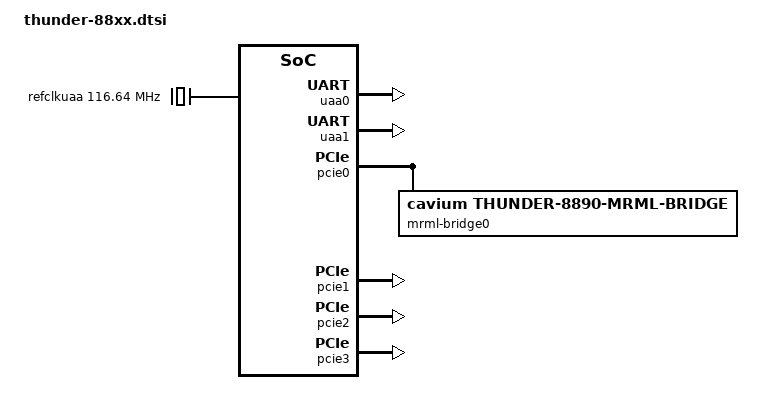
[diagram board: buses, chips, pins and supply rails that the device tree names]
/*
 * Cavium Thunder DTS file - Thunder SoC description
 *
 * Copyright (C) 2014, Cavium Inc.
 *
 * This file is dual-licensed: you can use it either under the terms
 * of the GPL or the X11 license, at your option. Note that this dual
 * licensing only applies to this file, and not this project as a
 * whole.
 *
 *  a) This library is free software; you can redistribute it and/or
 *     modify it under the terms of the GNU General Public License as
 *     published by the Free Software Foundation; either version 2 of the
 *     License, or (at your option) any later version.
 *
 *     This library is distributed in the hope that it will be useful,
 *     but WITHOUT ANY WARRANTY; without even the implied warranty of
 *     MERCHANTABILITY or FITNESS FOR A PARTICULAR PURPOSE.  See the
 *     GNU General Public License for more details.
 *
 *     You should have received a copy of the GNU General Public
 *     License along with this library; if not, write to the Free
 *     Software Foundation, Inc., 51 Franklin St, Fifth Floor, Boston,
 *     MA 02110-1301 USA
 *
 * Or, alternatively,
 *
 *  b) Permission is hereby granted, free of charge, to any person
 *     obtaining a copy of this software and associated documentation
 *     files (the "Software"), to deal in the Software without
 *     restriction, including without limitation the rights to use,
 *     copy, modify, merge, publish, distribute, sublicense, and/or
 *     sell copies of the Software, and to permit persons to whom the
 *     Software is furnished to do so, subject to the following
 *     conditions:
 *
 *     The above copyright notice and this permission notice shall be
 *     included in all copies or substantial portions of the Software.
 *
 *     THE SOFTWARE IS PROVIDED "AS IS", WITHOUT WARRANTY OF ANY KIND,
 *     EXPRESS OR IMPLIED, INCLUDING BUT NOT LIMITED TO THE WARRANTIES
 *     OF MERCHANTABILITY, FITNESS FOR A PARTICULAR PURPOSE AND
 *     NONINFRINGEMENT. IN NO EVENT SHALL THE AUTHORS OR COPYRIGHT
 *     HOLDERS BE LIABLE FOR ANY CLAIM, DAMAGES OR OTHER LIABILITY,
 *     WHETHER IN AN ACTION OF CONTRACT, TORT OR OTHERWISE, ARISING
 *     FROM, OUT OF OR IN CONNECTION WITH THE SOFTWARE OR THE USE OR
 *     OTHER DEALINGS IN THE SOFTWARE.
 */

/ {
	compatible = "cavium,thunder-88xx";
	interrupt-parent = <&gic0>;
	#address-cells = <2>;
	#size-cells = <2>;

	psci {
		compatible = "arm,psci-0.2";
		method = "smc";
	};

	cpus {
		#address-cells = <2>;
		#size-cells = <0>;

		cpu-map {
			cluster0 {
				core0 {
					cpu = <&CPU0>;
				};
				core1 {
					cpu = <&CPU1>;
				};
				core2 {
					cpu = <&CPU2>;
				};
				core3 {
					cpu = <&CPU3>;
				};
				core4 {
					cpu = <&CPU4>;
				};
				core5 {
					cpu = <&CPU5>;
				};
				core6 {
					cpu = <&CPU6>;
				};
				core7 {
					cpu = <&CPU7>;
				};
				core8 {
					cpu = <&CPU8>;
				};
				core9 {
					cpu = <&CPU9>;
				};
				core10 {
					cpu = <&CPU10>;
				};
				core11 {
					cpu = <&CPU11>;
				};
				core12 {
					cpu = <&CPU12>;
				};
				core13 {
					cpu = <&CPU13>;
				};
				core14 {
					cpu = <&CPU14>;
				};
				core15 {
					cpu = <&CPU15>;
				};
				core16 {
					cpu = <&CPU16>;
				};
				core17 {
					cpu = <&CPU17>;
				};
				core18 {
					cpu = <&CPU18>;
				};
				core19 {
					cpu = <&CPU19>;
				};
				core20 {
					cpu = <&CPU20>;
				};
				core21 {
					cpu = <&CPU21>;
				};
				core22 {
					cpu = <&CPU22>;
				};
				core23 {
					cpu = <&CPU23>;
				};
				core24 {
					cpu = <&CPU24>;
				};
				core25 {
					cpu = <&CPU25>;
				};
				core26 {
					cpu = <&CPU26>;
				};
				core27 {
					cpu = <&CPU27>;
				};
				core28 {
					cpu = <&CPU28>;
				};
				core29 {
					cpu = <&CPU29>;
				};
				core30 {
					cpu = <&CPU30>;
				};
				core31 {
					cpu = <&CPU31>;
				};
				core32 {
					cpu = <&CPU32>;
				};
				core33 {
					cpu = <&CPU33>;
				};
				core34 {
					cpu = <&CPU34>;
				};
				core35 {
					cpu = <&CPU35>;
				};
				core36 {
					cpu = <&CPU36>;
				};
				core37 {
					cpu = <&CPU37>;
				};
				core38 {
					cpu = <&CPU38>;
				};
				core39 {
					cpu = <&CPU39>;
				};
				core40 {
					cpu = <&CPU40>;
				};
				core41 {
					cpu = <&CPU41>;
				};
				core42 {
					cpu = <&CPU42>;
				};
				core43 {
					cpu = <&CPU43>;
				};
				core44 {
					cpu = <&CPU44>;
				};
				core45 {
					cpu = <&CPU45>;
				};
				core46 {
					cpu = <&CPU46>;
				};
				core47 {
					cpu = <&CPU47>;
				};
			};
		};

		CPU0: cpu@000 {
			device_type = "cpu";
			compatible = "cavium,thunder", "arm,armv8";
			reg = <0x0 0x000>;
			enable-method = "psci";
			/* socket 0, cluster 0, core 0*/
			arm,associativity = <0 0 0>;
		};
		CPU1: cpu@001 {
			device_type = "cpu";
			compatible = "cavium,thunder", "arm,armv8";
			reg = <0x0 0x001>;
			enable-method = "psci";
			arm,associativity = <0 0 1>;
		};
		CPU2: cpu@002 {
			device_type = "cpu";
			compatible = "cavium,thunder", "arm,armv8";
			reg = <0x0 0x002>;
			enable-method = "psci";
			arm,associativity = <0 0 2>;
		};
		CPU3: cpu@003 {
			device_type = "cpu";
			compatible = "cavium,thunder", "arm,armv8";
			reg = <0x0 0x003>;
			enable-method = "psci";
			arm,associativity = <0 0 3>;
		};
		CPU4: cpu@004 {
			device_type = "cpu";
			compatible = "cavium,thunder", "arm,armv8";
			reg = <0x0 0x004>;
			enable-method = "psci";
			arm,associativity = <0 0 4>;
		};
		CPU5: cpu@005 {
			device_type = "cpu";
			compatible = "cavium,thunder", "arm,armv8";
			reg = <0x0 0x005>;
			enable-method = "psci";
			arm,associativity = <0 0 5>;
		};
		CPU6: cpu@006 {
			device_type = "cpu";
			compatible = "cavium,thunder", "arm,armv8";
			reg = <0x0 0x006>;
			enable-method = "psci";
			arm,associativity = <0 0 6>;
		};
		CPU7: cpu@007 {
			device_type = "cpu";
			compatible = "cavium,thunder", "arm,armv8";
			reg = <0x0 0x007>;
			enable-method = "psci";
			arm,associativity = <0 0 7>;
		};
		CPU8: cpu@008 {
			device_type = "cpu";
			compatible = "cavium,thunder", "arm,armv8";
			reg = <0x0 0x008>;
			enable-method = "psci";
			arm,associativity = <0 0 8>;
		};
		CPU9: cpu@009 {
			device_type = "cpu";
			compatible = "cavium,thunder", "arm,armv8";
			reg = <0x0 0x009>;
			enable-method = "psci";
			arm,associativity = <0 0 9>;
		};
		CPU10: cpu@00a {
			device_type = "cpu";
			compatible = "cavium,thunder", "arm,armv8";
			reg = <0x0 0x00a>;
			enable-method = "psci";
			arm,associativity = <0 0 10>;
		};
		CPU11: cpu@00b {
			device_type = "cpu";
			compatible = "cavium,thunder", "arm,armv8";
			reg = <0x0 0x00b>;
			enable-method = "psci";
			arm,associativity = <0 0 11>;
		};
		CPU12: cpu@00c {
			device_type = "cpu";
			compatible = "cavium,thunder", "arm,armv8";
			reg = <0x0 0x00c>;
			enable-method = "psci";
			arm,associativity = <0 0 12>;
		};
		CPU13: cpu@00d {
			device_type = "cpu";
			compatible = "cavium,thunder", "arm,armv8";
			reg = <0x0 0x00d>;
			enable-method = "psci";
			arm,associativity = <0 0 13>;
		};
		CPU14: cpu@00e {
			device_type = "cpu";
			compatible = "cavium,thunder", "arm,armv8";
			reg = <0x0 0x00e>;
			enable-method = "psci";
			arm,associativity = <0 0 14>;
		};
		CPU15: cpu@00f {
			device_type = "cpu";
			compatible = "cavium,thunder", "arm,armv8";
			reg = <0x0 0x00f>;
			enable-method = "psci";
			arm,associativity = <0 0 15>;
		};
		CPU16: cpu@100 {
			device_type = "cpu";
			compatible = "cavium,thunder", "arm,armv8";
			reg = <0x0 0x100>;
			enable-method = "psci";
			arm,associativity = <0 1 0>;
		};
		CPU17: cpu@101 {
			device_type = "cpu";
			compatible = "cavium,thunder", "arm,armv8";
			reg = <0x0 0x101>;
			enable-method = "psci";
			arm,associativity = <0 1 1>;
		};
		CPU18: cpu@102 {
			device_type = "cpu";
			compatible = "cavium,thunder", "arm,armv8";
			reg = <0x0 0x102>;
			enable-method = "psci";
			arm,associativity = <0 1 2>;
		};
		CPU19: cpu@103 {
			device_type = "cpu";
			compatible = "cavium,thunder", "arm,armv8";
			reg = <0x0 0x103>;
			enable-method = "psci";
			arm,associativity = <0 1 3>;
		};
		CPU20: cpu@104 {
			device_type = "cpu";
			compatible = "cavium,thunder", "arm,armv8";
			reg = <0x0 0x104>;
			enable-method = "psci";
			arm,associativity = <0 1 4>;
		};
		CPU21: cpu@105 {
			device_type = "cpu";
			compatible = "cavium,thunder", "arm,armv8";
			reg = <0x0 0x105>;
			enable-method = "psci";
			arm,associativity = <0 1 5>;
		};
		CPU22: cpu@106 {
			device_type = "cpu";
			compatible = "cavium,thunder", "arm,armv8";
			reg = <0x0 0x106>;
			enable-method = "psci";
			arm,associativity = <0 1 6>;
		};
		CPU23: cpu@107 {
			device_type = "cpu";
			compatible = "cavium,thunder", "arm,armv8";
			reg = <0x0 0x107>;
			enable-method = "psci";
			arm,associativity = <0 1 7>;
		};
		CPU24: cpu@108 {
			device_type = "cpu";
			compatible = "cavium,thunder", "arm,armv8";
			reg = <0x0 0x108>;
			enable-method = "psci";
			arm,associativity = <0 1 8>;
		};
		CPU25: cpu@109 {
			device_type = "cpu";
			compatible = "cavium,thunder", "arm,armv8";
			reg = <0x0 0x109>;
			enable-method = "psci";
			arm,associativity = <0 1 9>;
		};
		CPU26: cpu@10a {
			device_type = "cpu";
			compatible = "cavium,thunder", "arm,armv8";
			reg = <0x0 0x10a>;
			enable-method = "psci";
			arm,associativity = <0 1 10>;
		};
		CPU27: cpu@10b {
			device_type = "cpu";
			compatible = "cavium,thunder", "arm,armv8";
			reg = <0x0 0x10b>;
			enable-method = "psci";
			arm,associativity = <0 1 11>;
		};
		CPU28: cpu@10c {
			device_type = "cpu";
			compatible = "cavium,thunder", "arm,armv8";
			reg = <0x0 0x10c>;
			enable-method = "psci";
			arm,associativity = <0 1 12>;
		};
		CPU29: cpu@10d {
			device_type = "cpu";
			compatible = "cavium,thunder", "arm,armv8";
			reg = <0x0 0x10d>;
			enable-method = "psci";
			arm,associativity = <0 1 13>;
		};
		CPU30: cpu@10e {
			device_type = "cpu";
			compatible = "cavium,thunder", "arm,armv8";
			reg = <0x0 0x10e>;
			enable-method = "psci";
			arm,associativity = <0 1 14>;
		};
		CPU31: cpu@10f {
			device_type = "cpu";
			compatible = "cavium,thunder", "arm,armv8";
			reg = <0x0 0x10f>;
			enable-method = "psci";
			arm,associativity = <0 1 15>;
		};
		CPU32: cpu@200 {
			device_type = "cpu";
			compatible = "cavium,thunder", "arm,armv8";
			reg = <0x0 0x200>;
			enable-method = "psci";
			arm,associativity = <0 2 0>;
		};
		CPU33: cpu@201 {
			device_type = "cpu";
			compatible = "cavium,thunder", "arm,armv8";
			reg = <0x0 0x201>;
			enable-method = "psci";
			arm,associativity = <0 2 1>;
		};
		CPU34: cpu@202 {
			device_type = "cpu";
			compatible = "cavium,thunder", "arm,armv8";
			reg = <0x0 0x202>;
			enable-method = "psci";
			arm,associativity = <0 2 2>;
		};
		CPU35: cpu@203 {
			device_type = "cpu";
			compatible = "cavium,thunder", "arm,armv8";
			reg = <0x0 0x203>;
			enable-method = "psci";
			arm,associativity = <0 2 3>;
		};
		CPU36: cpu@204 {
			device_type = "cpu";
			compatible = "cavium,thunder", "arm,armv8";
			reg = <0x0 0x204>;
			enable-method = "psci";
			arm,associativity = <0 2 4>;
		};
		CPU37: cpu@205 {
			device_type = "cpu";
			compatible = "cavium,thunder", "arm,armv8";
			reg = <0x0 0x205>;
			enable-method = "psci";
			arm,associativity = <0 2 5>;
		};
		CPU38: cpu@206 {
			device_type = "cpu";
			compatible = "cavium,thunder", "arm,armv8";
			reg = <0x0 0x206>;
			enable-method = "psci";
			arm,associativity = <0 2 6>;
		};
		CPU39: cpu@207 {
			device_type = "cpu";
			compatible = "cavium,thunder", "arm,armv8";
			reg = <0x0 0x207>;
			enable-method = "psci";
			arm,associativity = <0 2 7>;
		};
		CPU40: cpu@208 {
			device_type = "cpu";
			compatible = "cavium,thunder", "arm,armv8";
			reg = <0x0 0x208>;
			enable-method = "psci";
			arm,associativity = <0 2 8>;
		};
		CPU41: cpu@209 {
			device_type = "cpu";
			compatible = "cavium,thunder", "arm,armv8";
			reg = <0x0 0x209>;
			enable-method = "psci";
			arm,associativity = <0 2 9>;
		};
		CPU42: cpu@20a {
			device_type = "cpu";
			compatible = "cavium,thunder", "arm,armv8";
			reg = <0x0 0x20a>;
			enable-method = "psci";
			arm,associativity = <0 2 10>;
		};
		CPU43: cpu@20b {
			device_type = "cpu";
			compatible = "cavium,thunder", "arm,armv8";
			reg = <0x0 0x20b>;
			enable-method = "psci";
			arm,associativity = <0 2 11>;
		};
		CPU44: cpu@20c {
			device_type = "cpu";
			compatible = "cavium,thunder", "arm,armv8";
			reg = <0x0 0x20c>;
			enable-method = "psci";
			arm,associativity = <0 2 12>;
		};
		CPU45: cpu@20d {
			device_type = "cpu";
			compatible = "cavium,thunder", "arm,armv8";
			reg = <0x0 0x20d>;
			enable-method = "psci";
			arm,associativity = <0 2 13>;
		};
		CPU46: cpu@20e {
			device_type = "cpu";
			compatible = "cavium,thunder", "arm,armv8";
			reg = <0x0 0x20e>;
			enable-method = "psci";
			arm,associativity = <0 2 14>;
		};
		CPU47: cpu@20f {
			device_type = "cpu";
			compatible = "cavium,thunder", "arm,armv8";
			reg = <0x0 0x20f>;
			enable-method = "psci";
			arm,associativity = <0 2 15>;
		};
	};

	timer {
		compatible = "arm,armv8-timer";
		interrupts = <1 13 0xff01>,
			     <1 14 0xff01>,
			     <1 11 0xff01>,
			     <1 10 0xff01>;
	};

	pmu {
		compatible = "arm,armv8-pmuv3";
		interrupts = <1 7 4>;
	};

	gic0: interrupt-controller@8010,00000000 {
		compatible = "arm,gic-v3";
		#interrupt-cells = <3>;
		#address-cells = <2>;
		#size-cells = <2>;
		#redistributor-regions = <1>;
		ranges;
		interrupt-controller;
		reg = <0x8010 0x00000000 0x0 0x010000>, /* GICD */
		      <0x8010 0x80000000 0x0 0x600000>; /* GICR Node 0 */
		interrupts = <1 9 0xf04>;

		its: gic-its@8010,00020000 {
			compatible = "arm,gic-v3-its";
			reg = <0x8010 0x20000 0x0 0x200000>;
			msi-controller;
			#msi-cells = <1>;
		};
	};

	soc@0 {
		compatible = "simple-bus";
		#address-cells = <2>;
		#size-cells = <2>;
		ranges;

		refclkuaa: refclkuaa {
			compatible = "fixed-clock";
			#clock-cells = <0>;
			clock-frequency = <116640000>;
			clock-output-names = "refclkuaa";
		};

		uaa0: serial@87e0,24000000 {
			compatible = "arm,pl011", "arm,primecell";
			reg = <0x87e0 0x24000000 0x0 0x1000>;
			interrupts = <0 5 4>;
			clocks = <&refclkuaa>;
			clock-names = "apb_pclk";
			uboot,skip-init;
		};

		uaa1: serial@87e0,25000000 {
			compatible = "arm,pl011", "arm,primecell";
			reg = <0x87e0 0x25000000 0x0 0x1000>;
			interrupts = <0 6 4>;
			clocks = <&refclkuaa>;
			clock-names = "apb_pclk";
			uboot,skip-init;
		};

		smmu0@8300,00000000 {
			compatible = "arm,smmu-v2";
			reg = <0x8300 0x0 0x0 0x2000000>;
			#global-interrupts = <1>;
			interrupts = <0 68 4>, <0 69 4>, <0 69 4>, <0 69 4>, <0 69 4>, <0 69 4>,
				     <0 69 4>, <0 69 4>, <0 69 4>, <0 69 4>, <0 69 4>, <0 69 4>,
				     <0 69 4>, <0 69 4>, <0 69 4>, <0 69 4>, <0 69 4>, <0 69 4>,
				     <0 69 4>, <0 69 4>, <0 69 4>, <0 69 4>, <0 69 4>, <0 69 4>,
				     <0 69 4>, <0 69 4>, <0 69 4>, <0 69 4>, <0 69 4>, <0 69 4>,
				     <0 69 4>, <0 69 4>, <0 69 4>, <0 69 4>, <0 69 4>, <0 69 4>,
				     <0 69 4>, <0 69 4>, <0 69 4>, <0 69 4>, <0 69 4>, <0 69 4>,
				     <0 69 4>, <0 69 4>, <0 69 4>, <0 69 4>, <0 69 4>, <0 69 4>,
				     <0 69 4>, <0 69 4>, <0 69 4>, <0 69 4>, <0 69 4>, <0 69 4>,
				     <0 69 4>, <0 69 4>, <0 69 4>, <0 69 4>, <0 69 4>, <0 69 4>,
				     <0 69 4>, <0 69 4>, <0 69 4>, <0 69 4>, <0 69 4>, <0 69 4>,
				     <0 69 4>, <0 69 4>, <0 69 4>, <0 69 4>, <0 69 4>, <0 69 4>,
				     <0 69 4>, <0 69 4>, <0 69 4>, <0 69 4>, <0 69 4>, <0 69 4>,
				     <0 69 4>, <0 69 4>, <0 69 4>, <0 69 4>, <0 69 4>, <0 69 4>,
				     <0 69 4>, <0 69 4>, <0 69 4>, <0 69 4>, <0 69 4>, <0 69 4>,
				     <0 69 4>, <0 69 4>, <0 69 4>, <0 69 4>, <0 69 4>, <0 69 4>,
				     <0 69 4>, <0 69 4>, <0 69 4>, <0 69 4>, <0 69 4>, <0 69 4>,
				     <0 69 4>, <0 69 4>, <0 69 4>, <0 69 4>, <0 69 4>, <0 69 4>,
				     <0 69 4>, <0 69 4>, <0 69 4>, <0 69 4>, <0 69 4>, <0 69 4>,
				     <0 69 4>, <0 69 4>, <0 69 4>, <0 69 4>, <0 69 4>, <0 69 4>,
				     <0 69 4>, <0 69 4>, <0 69 4>, <0 69 4>, <0 69 4>, <0 69 4>,
				     <0 69 4>, <0 69 4>, <0 69 4>;
	
			mmu-masters = <&pcie0 0x100>;
			thunderx,smmu-64-bit-writes-only;
		};

		smmu1@8310,00000000 {
			compatible = "arm,smmu-v2";
			reg = <0x8310 0x0 0x0 0x2000000>;
			#global-interrupts = <1>;
			interrupts = <0 70 4>, <0 71 4>, <0 71 4>, <0 71 4>, <0 71 4>, <0 71 4>,
				     <0 71 4>, <0 71 4>, <0 71 4>, <0 71 4>, <0 71 4>, <0 71 4>,
				     <0 71 4>, <0 71 4>, <0 71 4>, <0 71 4>, <0 71 4>, <0 71 4>,
				     <0 71 4>, <0 71 4>, <0 71 4>, <0 71 4>, <0 71 4>, <0 71 4>,
				     <0 71 4>, <0 71 4>, <0 71 4>, <0 71 4>, <0 71 4>, <0 71 4>,
				     <0 71 4>, <0 71 4>, <0 71 4>, <0 71 4>, <0 71 4>, <0 71 4>,
				     <0 71 4>, <0 71 4>, <0 71 4>, <0 71 4>, <0 71 4>, <0 71 4>,
				     <0 71 4>, <0 71 4>, <0 71 4>, <0 71 4>, <0 71 4>, <0 71 4>,
				     <0 71 4>, <0 71 4>, <0 71 4>, <0 71 4>, <0 71 4>, <0 71 4>,
				     <0 71 4>, <0 71 4>, <0 71 4>, <0 71 4>, <0 71 4>, <0 71 4>,
				     <0 71 4>, <0 71 4>, <0 71 4>, <0 71 4>, <0 71 4>, <0 71 4>,
				     <0 71 4>, <0 71 4>, <0 71 4>, <0 71 4>, <0 71 4>, <0 71 4>,
				     <0 71 4>, <0 71 4>, <0 71 4>, <0 71 4>, <0 71 4>, <0 71 4>,
				     <0 71 4>, <0 71 4>, <0 71 4>, <0 71 4>, <0 71 4>, <0 71 4>,
				     <0 71 4>, <0 71 4>, <0 71 4>, <0 71 4>, <0 71 4>, <0 71 4>,
				     <0 71 4>, <0 71 4>, <0 71 4>, <0 71 4>, <0 71 4>, <0 71 4>,
				     <0 71 4>, <0 71 4>, <0 71 4>, <0 71 4>, <0 71 4>, <0 71 4>,
				     <0 71 4>, <0 71 4>, <0 71 4>, <0 71 4>, <0 71 4>, <0 71 4>,
				     <0 71 4>, <0 71 4>, <0 71 4>, <0 71 4>, <0 71 4>, <0 71 4>,
				     <0 71 4>, <0 71 4>, <0 71 4>, <0 71 4>, <0 71 4>, <0 71 4>,
				     <0 71 4>, <0 71 4>, <0 71 4>, <0 71 4>, <0 71 4>, <0 71 4>,
				     <0 71 4>, <0 71 4>, <0 71 4>;
	
			mmu-masters = <&pcie1 0x100>;
			thunderx,smmu-64-bit-writes-only;
		};

		smmu2@8320,00000000 {
			compatible = "arm,smmu-v2";
			reg = <0x8320 0x0 0x0 0x2000000>;
			#global-interrupts = <1>;
			interrupts = <0 72 4>, <0 73 4>, <0 73 4>, <0 73 4>, <0 73 4>, <0 73 4>,
				     <0 73 4>, <0 73 4>, <0 73 4>, <0 73 4>, <0 73 4>, <0 73 4>,
				     <0 73 4>, <0 73 4>, <0 73 4>, <0 73 4>, <0 73 4>, <0 73 4>,
				     <0 73 4>, <0 73 4>, <0 73 4>, <0 73 4>, <0 73 4>, <0 73 4>,
				     <0 73 4>, <0 73 4>, <0 73 4>, <0 73 4>, <0 73 4>, <0 73 4>,
				     <0 73 4>, <0 73 4>, <0 73 4>, <0 73 4>, <0 73 4>, <0 73 4>,
				     <0 73 4>, <0 73 4>, <0 73 4>, <0 73 4>, <0 73 4>, <0 73 4>,
				     <0 73 4>, <0 73 4>, <0 73 4>, <0 73 4>, <0 73 4>, <0 73 4>,
				     <0 73 4>, <0 73 4>, <0 73 4>, <0 73 4>, <0 73 4>, <0 73 4>,
				     <0 73 4>, <0 73 4>, <0 73 4>, <0 73 4>, <0 73 4>, <0 73 4>,
				     <0 73 4>, <0 73 4>, <0 73 4>, <0 73 4>, <0 73 4>, <0 73 4>,
				     <0 73 4>, <0 73 4>, <0 73 4>, <0 73 4>, <0 73 4>, <0 73 4>,
				     <0 73 4>, <0 73 4>, <0 73 4>, <0 73 4>, <0 73 4>, <0 73 4>,
				     <0 73 4>, <0 73 4>, <0 73 4>, <0 73 4>, <0 73 4>, <0 73 4>,
				     <0 73 4>, <0 73 4>, <0 73 4>, <0 73 4>, <0 73 4>, <0 73 4>,
				     <0 73 4>, <0 73 4>, <0 73 4>, <0 73 4>, <0 73 4>, <0 73 4>,
				     <0 73 4>, <0 73 4>, <0 73 4>, <0 73 4>, <0 73 4>, <0 73 4>,
				     <0 73 4>, <0 73 4>, <0 73 4>, <0 73 4>, <0 73 4>, <0 73 4>,
				     <0 73 4>, <0 73 4>, <0 73 4>, <0 73 4>, <0 73 4>, <0 73 4>,
				     <0 73 4>, <0 73 4>, <0 73 4>, <0 73 4>, <0 73 4>, <0 73 4>,
				     <0 73 4>, <0 73 4>, <0 73 4>, <0 73 4>, <0 73 4>, <0 73 4>,
				     <0 73 4>, <0 73 4>, <0 73 4>;
	
			mmu-masters = <&pcie2 0x100>;
			thunderx,smmu-64-bit-writes-only;
		};

		smmu3@8330,00000000 {
			compatible = "arm,smmu-v2";
			reg = <0x8330 0x0 0x0 0x2000000>;
			#global-interrupts = <1>;
			interrupts = <0 74 4>, <0 75 4>, <0 75 4>, <0 75 4>, <0 75 4>, <0 75 4>,
				     <0 75 4>, <0 75 4>, <0 75 4>, <0 75 4>, <0 75 4>, <0 75 4>,
				     <0 75 4>, <0 75 4>, <0 75 4>, <0 75 4>, <0 75 4>, <0 75 4>,
				     <0 75 4>, <0 75 4>, <0 75 4>, <0 75 4>, <0 75 4>, <0 75 4>,
				     <0 75 4>, <0 75 4>, <0 75 4>, <0 75 4>, <0 75 4>, <0 75 4>,
				     <0 75 4>, <0 75 4>, <0 75 4>, <0 75 4>, <0 75 4>, <0 75 4>,
				     <0 75 4>, <0 75 4>, <0 75 4>, <0 75 4>, <0 75 4>, <0 75 4>,
				     <0 75 4>, <0 75 4>, <0 75 4>, <0 75 4>, <0 75 4>, <0 75 4>,
				     <0 75 4>, <0 75 4>, <0 75 4>, <0 75 4>, <0 75 4>, <0 75 4>,
				     <0 75 4>, <0 75 4>, <0 75 4>, <0 75 4>, <0 75 4>, <0 75 4>,
				     <0 75 4>, <0 75 4>, <0 75 4>, <0 75 4>, <0 75 4>, <0 75 4>,
				     <0 75 4>, <0 75 4>, <0 75 4>, <0 75 4>, <0 75 4>, <0 75 4>,
				     <0 75 4>, <0 75 4>, <0 75 4>, <0 75 4>, <0 75 4>, <0 75 4>,
				     <0 75 4>, <0 75 4>, <0 75 4>, <0 75 4>, <0 75 4>, <0 75 4>,
				     <0 75 4>, <0 75 4>, <0 75 4>, <0 75 4>, <0 75 4>, <0 75 4>,
				     <0 75 4>, <0 75 4>, <0 75 4>, <0 75 4>, <0 75 4>, <0 75 4>,
				     <0 75 4>, <0 75 4>, <0 75 4>, <0 75 4>, <0 75 4>, <0 75 4>,
				     <0 75 4>, <0 75 4>, <0 75 4>, <0 75 4>, <0 75 4>, <0 75 4>,
				     <0 75 4>, <0 75 4>, <0 75 4>, <0 75 4>, <0 75 4>, <0 75 4>,
				     <0 75 4>, <0 75 4>, <0 75 4>, <0 75 4>, <0 75 4>, <0 75 4>,
				     <0 75 4>, <0 75 4>, <0 75 4>, <0 75 4>, <0 75 4>, <0 75 4>,
				     <0 75 4>, <0 75 4>, <0 75 4>;
	
			mmu-masters = <&pcie3 0x100>;
			thunderx,smmu-64-bit-writes-only;
		};

		pcie0: pcie0@8480,00000000 {
			compatible = "cavium,pci-host-thunder-ecam";
			device_type = "pci";
			msi-parent = <&its>;
			msi-map = <0 &its 0 0x10000>;
			bus-range = <0 255>;
			#size-cells = <2>;
			#address-cells = <3>;
			#stream-id-cells = <1>;
			reg = <0x8480 0x00000000 0 0x10000000>;	 /* Configuration space */
			ranges = <0x03000000 0x8010 0x00000000 0x8010 0x00000000 0x070 0x00000000>, /* mem ranges */
				 <0x03000000 0x8680 0x00000000 0x8680 0x00000000 0x160 0x24000000>, /* hole for UARTs */
				 <0x03000000 0x87e0 0x26000000 0x87e0 0x26000000 0x01f 0xda000000>;

			mrml-bridge0@1,0 {
				compatible = "cavium,thunder-8890-mrml-bridge";
				#size-cells = <2>;
				#address-cells = <3>;
				ranges = <0x03000000 0x87e0 0x00000000 0x03000000 0x87e0 0x00000000 0x10 0x00000000>;
				reg = <0x0800 0 0 0 0>; /* DEVFN = 0x08 (1:0) */

				mdio-nexus@1,3 {
					compatible = "cavium,thunder-8890-mdio-nexus";
					#address-cells = <2>;
					#size-cells = <2>;
					reg = <0x0b00 0 0 0 0>; /* DEVFN = 0x0b (1:3) */
					assigned-addresses = <0x03000000 0x87e0 0x05000000 0x0 0x800000>;
					ranges = <0x87e0 0x05000000 0x03000000 0x87e0 0x05000000 0x0 0x800000>;

					mdio0@87e0,05003800 {
						compatible = "cavium,thunder-8890-mdio";
						#address-cells = <1>;
						#size-cells = <0>;
						reg = <0x87e0 0x05003800 0x0 0x30>;

						sgmii00: sgmii00 {
							qlm-mode = "0,sgmii";
							reg = <0> ;
							compatible = "marvell,88e1240", "ethernet-phy-ieee802.3-c22";
							/* LED[2,1]: Speed, LED[3]: RX, LED[0]: TX, all open-drain */
							marvell,reg-init = <3 0x10 0 0x8665>,
									   <3 0x11 0 0x00aa>,
									   <3 0x12 0 0x4105>,
									   <3 0x13 0 0x8a08>;

						};
						sgmii01: sgmii01 {
							qlm-mode = "0,sgmii";
							reg = <1> ;
							compatible = "marvell,88e1240", "ethernet-phy-ieee802.3-c22";
							marvell,reg-init = <3 0x10 0 0x8665>,
									   <3 0x11 0 0x00aa>,
										   <3 0x12 0 0x4105>,
									   <3 0x13 0 0x8a08>;
						};
						sgmii02: sgmii02 {
							qlm-mode = "0,sgmii";
							reg = <2> ;
							compatible = "marvell,88e1240", "ethernet-phy-ieee802.3-c22";
							marvell,reg-init = <3 0x10 0 0x8665>,
									   <3 0x11 0 0x00aa>,
									   <3 0x12 0 0x4105>,
									   <3 0x13 0 0x8a08>;
						};
						sgmii03: sgmii03 {
							qlm-mode = "0,sgmii";
							reg = <3> ;
							compatible = "marvell,88e1240", "ethernet-phy-ieee802.3-c22";
							marvell,reg-init = <3 0x10 0 0x8665>,
									   <3 0x11 0 0x00aa>,
									   <3 0x12 0 0x4105>,
									   <3 0x13 0 0x8a08>;
						};
						xfi00: xfi00 {
							qlm-mode = "0,xfi","0,xfi-10g-kr";
							reg = <0> ;
							compatible = "cortina,cs4223-slice";
						};
						xfi01: xfi01 {
							qlm-mode = "0,xfi","0,xfi-10g-kr";
							reg = <1> ;
							compatible = "cortina,cs4223-slice";
						};
						xfi02: xfi02 {
							qlm-mode = "0,xfi","0,xfi-10g-kr";
							reg = <2> ;
							compatible = "cortina,cs4223-slice";
						};
						xfi03: xfi03 {
							qlm-mode = "0,xfi","0,xfi-10g-kr";
							reg = <3> ;
							compatible = "cortina,cs4223-slice";
						};
						xlaui00: xlaui00 {
							qlm-mode = "0,xlaui","0,xlaui-40g-kr";
							reg = <0> ;
							compatible = "cortina,cs4223-slice";
						};
						xaui00: xaui00 {
							qlm-mode = "0,xaui";
							reg = <0> ;
							compatible = "broadcom,bcm8706", "ethernet-phy-ieee802.3-c45";
							broadcom,c45-reg-init = <1 0xc808 0xff8f 0x70>;
						};
						rxaui00: rxaui00 {
							qlm-mode = "0,rxaui";
							reg = <0> ;
							compatible = "marvell,88x3120", "ethernet-phy-ieee802.3-c45";
						};
						rxaui01: rxaui01 {
							qlm-mode = "0,rxaui";
							reg = <1> ;
							compatible = "marvell,88x3120", "ethernet-phy-ieee802.3-c45";
						};
					};

					mdio1@87e0,05003880 {
						compatible = "cavium,thunder-8890-mdio";
						#address-cells = <1>;
						#size-cells = <0>;
						reg = <0x87e0 0x05003880 0x0 0x30>;

						sgmii10: sgmii10 {
							qlm-mode = "1,sgmii";
							reg = <4> ;
							compatible = "marvell,88e1240", "ethernet-phy-ieee802.3-c22";
							marvell,reg-init = <3 0x10 0 0x8665>,
									   <3 0x11 0 0x00aa>,
									   <3 0x12 0 0x4105>,
									   <3 0x13 0 0x8a08>;
						};
						sgmii11: sgmii11 {
							qlm-mode = "1,sgmii";
							reg = <5> ;
							compatible = "marvell,88e1240", "ethernet-phy-ieee802.3-c22";
							marvell,reg-init = <3 0x10 0 0x8665>,
									   <3 0x11 0 0x00aa>,
									   <3 0x12 0 0x4105>,
									   <3 0x13 0 0x8a08>;
						};
						sgmii12: sgmii12 {
							qlm-mode = "1,sgmii";
							reg = <6> ;
							compatible = "marvell,88e1240", "ethernet-phy-ieee802.3-c22";
							marvell,reg-init = <3 0x10 0 0x8665>,
									   <3 0x11 0 0x00aa>,
									   <3 0x12 0 0x4105>,
									   <3 0x13 0 0x8a08>;
						};
						sgmii13: sgmii13 {
							qlm-mode = "1,sgmii";
							reg = <7> ;
							compatible = "marvell,88e1240", "ethernet-phy-ieee802.3-c22";
							marvell,reg-init = <3 0x10 0 0x8665>,
									   <3 0x11 0 0x00aa>,
									   <3 0x12 0 0x4105>,
									   <3 0x13 0 0x8a08>;
						};
						xfi10: xfi10 {
							qlm-mode = "1,xfi","1,xfi-10g-kr";
							reg = <0> ;
							compatible = "cortina,cs4223-slice";
						};
						xfi11: xfi11 {
							qlm-mode = "1,xfi","1,xfi-10g-kr";
							reg = <1> ;
							compatible = "cortina,cs4223-slice";
						};
						xfi12: xfi12 {
							qlm-mode = "1,xfi","1,xfi-10g-kr";
							reg = <2> ;
							compatible = "cortina,cs4223-slice";
						};
						xfi13: xfi13 {
							qlm-mode = "1,xfi","1,xfi-10g-kr";
							reg = <3> ;
							compatible = "cortina,cs4223-slice";
						};
						xlaui10: xlaui10 {
							qlm-mode = "1,xlaui","1,xlaui-40g-kr";
							reg = <0> ;
							compatible = "cortina,cs4223-slice";
						};
						xaui10: xaui10 {
							qlm-mode = "1,xaui";
							reg = <4> ;
							compatible = "broadcom,bcm8706", "ethernet-phy-ieee802.3-c45";
							broadcom,c45-reg-init = <1 0xc808 0xff8f 0x70>;
						};
						rxaui10: rxaui10 {
							qlm-mode = "1,rxaui";
							reg = <0> ;
							compatible = "marvell,88x3120", "ethernet-phy-ieee802.3-c45";
						};
						rxaui11: rxaui11 {
							qlm-mode = "1,rxaui";
							reg = <1> ;
							compatible = "marvell,88x3120", "ethernet-phy-ieee802.3-c45";
						};
					};
				};

				bgx0 {
					#address-cells = <1>;
					#size-cells = <0>;
					reg = <0x8000 0 0 0 0>; /* DEVFN = 0x80 (16:0) */
					/* typename+qlm+typenumber eg :
					   sgmii+bgx0+sgmmi0
					 */
					// SGMII
					sgmii00 {
						reg = <0>;
						qlm-mode = "0,sgmii";
						phy-handle = <&sgmii00>;
					};
					sgmii01 {
						reg = <1>;
						qlm-mode = "0,sgmii";
						phy-handle = <&sgmii01>;
					};
					sgmii02 {
						reg = <2>;
						qlm-mode = "0,sgmii";
						phy-handle = <&sgmii02>;
					};
					sgmii03 {
						reg = <3>;
						qlm-mode = "0,sgmii";
						phy-handle = <&sgmii03>;
					};
					xfi00 {
						reg = <0>;
						qlm-mode = "0,xfi";
						phy-handle = <&xfi00>;
					};
					xfi01 {
						reg = <1>;
						qlm-mode = "0,xfi";
						phy-handle = <&xfi01>;
					};
					xfi02 {
						reg = <2>;
						qlm-mode = "0,xfi";
						phy-handle = <&xfi02>;
					};
					xfi03 {
						reg = <3>;
						qlm-mode = "0,xfi";
						phy-handle = <&xfi03>;
					};
					// 10g-kr
					xfi-10g-kr00 {
						reg = <0>;
						qlm-mode = "0,xfi-10g-kr";
						phy-handle = <&xfi00>;
					};
					xfi-10g-kr01 {
						reg = <1>;
						qlm-mode = "0,xfi-10g-kr";
						phy-handle = <&xfi01>;
					};
					xfi-10g-kr02 {
						reg = <2>;
						qlm-mode = "0,xfi-10g-kr";
						phy-handle = <&xfi02>;
					};
					xfi-10g-kr03 {
						reg = <3>;
						qlm-mode = "0,xfi-10g-kr";
						phy-handle = <&xfi03>;
					};
					xlaui00 {
						reg = <0>;
						qlm-mode = "0,xlaui";
						phy-handle = <&xlaui00>;
					};
					xlaui-40g-kr00 {
						reg = <0>;
						qlm-mode = "0,xlaui-40g-kr";
						phy-handle = <&xlaui00>;
					};
					xaui00 {
						reg = <0>;
						qlm-mode = "0,xaui";
						phy-handle = <&xaui00>;
					};
					rxaui00 {
						reg = <0>;
						qlm-mode = "0,rxaui";
						phy-handle = <&rxaui00>;
					};
					rxaui01 {
						reg = <1>;
						qlm-mode = "0,rxaui";
						phy-handle = <&rxaui01>;
					};
				};

				bgx1 {
					#address-cells = <1>;
					#size-cells = <0>;
					reg = <0x8100 0 0 0 0>; /* DEVFN = 0x81 (16:1) */

					sgmii10 {
						reg = <0>;
						qlm-mode = "1,sgmii";
						phy-handle = <&sgmii10>; /*"sgmmi"+bgx+no */
					};
					sgmii11 {
						reg = <1>;
						qlm-mode = "1,sgmii";
						phy-handle = <&sgmii11>;
					};
					sgmii12 {
						reg = <2>;
						qlm-mode = "1,sgmii";
						phy-handle = <&sgmii12>;
					};
					sgmii13 {
						reg = <3>;
						qlm-mode = "1,sgmii";
						phy-handle = <&sgmii13>;
					};
					xfi10 {
						reg = <0>;
						qlm-mode = "1,xfi";
						phy-handle = <&xfi10>;
					};
					xfi11 {
						reg = <1>;
						qlm-mode = "1,xfi";
						phy-handle = <&xfi11>;
					};
					xfi12 {
						reg = <2>;
						qlm-mode = "1,xfi";
						phy-handle = <&xfi12>;
					};
					xfi13 {
						reg = <3>;
						qlm-mode = "1,xfi";
						phy-handle = <&xfi13>;
					};
					// 10g_kr
					xfi-10g-kr10 {
						reg = <0>;
						qlm-mode = "1,xfi-10g-kr";
						phy-handle = <&xfi10>;
					};
					xfi-10g-kr11 {
						reg = <1>;
						qlm-mode = "1,xfi-10g-kr";
						phy-handle = <&xfi11>;
					};
					xfi-10g-kr12 {
						reg = <2>;
						qlm-mode = "1,xfi-10g-kr";
						phy-handle = <&xfi12>;
					};
					xfi-10g-kr13 {
						reg = <3>;
						qlm-mode = "1,xfi-10g-kr";
						phy-handle = <&xfi13>;
					};
					xlaui10 {
						reg = <0>;
						qlm-mode = "1,xlaui";
						phy-handle = <&xlaui10>;
						};
					xlaui-40g-kr-10 {
						reg = <0>;
						qlm-mode = "1,xlaui-40g-kr";
						phy-handle = <&xlaui10>;
						};
					xaui10 {
						reg = <0>;
						qlm-mode = "1,xaui";
						phy-handle = <&xaui10>;
					};
					rxaui10 {
						reg = <0>;
						qlm-mode = "1,rxaui";
						phy-handle = <&rxaui10>;
					};
					rxaui11 {
						reg = <1>;
						qlm-mode = "1,rxaui";
						phy-handle = <&rxaui11>;
					};
				};
			};
		};

		pcie1: pcie1@8490,00000000 {
			compatible = "cavium,pci-host-thunder-ecam";
			device_type = "pci";
			msi-parent = <&its>;
			msi-map = <0 &its 0x10000 0x10000>;
			bus-range = <0 255>;
			#size-cells = <2>;
			#address-cells = <3>;
			#stream-id-cells = <1>;
			reg = <0x8490 0x00000000 0 0x10000000>;	 /* Configuration space */
			ranges = <0x03000000 0x8100 0x00000000  0x8100 0x00000000  0x80 0x00000000>; /* mem ranges */
		};

		pcie2: pcie2@84a0,00000000 {
			compatible = "cavium,pci-host-thunder-ecam";
			device_type = "pci";
			msi-parent = <&its>;
			msi-map = <0 &its 0x20000 0x10000>;
			bus-range = <0 255>;
			#size-cells = <2>;
			#address-cells = <3>;
			#stream-id-cells = <1>;
			reg = <0x84a0 0x00000000 0 0x10000000>;  /* Configuration space */
			ranges = <0x03000000 0x8420 0x00000000  0x8420 0x00000000  0x20 0x00000000>; /* mem ranges */
		};

		pcie3: pcie3@84b0,00000000 {
			compatible = "cavium,pci-host-thunder-ecam";
			device_type = "pci";
			msi-parent = <&its>;
			msi-map = <0 &its 0x30000 0x10000>;
			bus-range = <0 255>;
			#size-cells = <2>;
			#address-cells = <3>;
			#stream-id-cells = <1>;
			reg = <0x84b0 0x00000000 0 0x10000000>;  /* Configuration space */
			ranges = <0x03000000 0x8180 0x00000000  0x8180 0x00000000  0x80 0x00000000>; /* mem ranges */
		};

		pem0 {
			compatible = "cavium,pci-host-thunder-pem";
			device_type = "pci";
			msi-parent = <&its>;
			msi-map = <0 &its 0x10000 0x10000>;
			bus-range = <0x20 0x57>;
			#size-cells = <2>;
			#address-cells = <3>;
			#stream-id-cells = <1>;
			reg = <0x8800 0x20000000 0x0 0x38000000>;  /* Configuration space */
			ranges = <0x01000000 0x00 0x00000000  0x8830 0x00000000  0x00 0x00010000>, /* I/O */
				 <0x03000000 0x00 0x10000000  0x8810 0x10000000  0x0f 0xf0000000>, /* mem64 */
				 <0x43000000 0x10 0x00000000  0x8820 0x00000000  0x10 0x00000000>; /* mem64-pref */

			#interrupt-cells = <1>;
			interrupt-map-mask = <0 0 0 7>;
			interrupt-map = <0 0 0 1 &gic0 0 0 0 16 4>, /* INTA */
					<0 0 0 2 &gic0 0 0 0 17 4>, /* INTB */
					<0 0 0 3 &gic0 0 0 0 18 4>, /* INTC */
					<0 0 0 4 &gic0 0 0 0 19 4>; /* INTD */
		};

		pem1 {
			compatible = "cavium,pci-host-thunder-pem";
			device_type = "pci";
			msi-parent = <&its>;
			msi-map = <0 &its 0x10000 0x10000>;
			bus-range = <0x58 0x8f>;
			#size-cells = <2>;
			#address-cells = <3>;
			#stream-id-cells = <1>;
			reg = <0x8840 0x58000000 0x0 0x38000000>;  /* Configuration space */
			ranges = <0x01000000 0x00 0x00010000  0x8870 0x00010000  0x00 0x00010000>, /* I/O */
				 <0x03000000 0x00 0x10000000  0x8850 0x10000000  0x0f 0xf0000000>, /* mem64 */
				 <0x43000000 0x10 0x00000000  0x8860 0x00000000  0x10 0x00000000>; /* mem64-pref */

			#interrupt-cells = <1>;
			interrupt-map-mask = <0 0 0 7>;
			interrupt-map = <0 0 0 1 &gic0 0 0 0 20 4>, /* INTA */
					<0 0 0 2 &gic0 0 0 0 21 4>, /* INTB */
					<0 0 0 3 &gic0 0 0 0 22 4>, /* INTC */
					<0 0 0 4 &gic0 0 0 0 23 4>; /* INTD */
		};

		pem2 {
			compatible = "cavium,pci-host-thunder-pem";
			device_type = "pci";
			msi-parent = <&its>;
			msi-map = <0 &its 0x10000 0x10000>;
			bus-range = <0x90 0xc7>;
			#size-cells = <2>;
			#address-cells = <3>;
			#stream-id-cells = <1>;
			reg = <0x8880 0x90000000 0x0 0x58000000>;  /* Configuration space */
			ranges = <0x01000000 0x00 0x00020000  0x88b0 0x00020000  0x00 0x00010000>, /* I/O */
				 <0x03000000 0x00 0x10000000  0x8890 0x10000000  0x0f 0xf0000000>, /* mem64 */
				 <0x43000000 0x10 0x00000000  0x88a0 0x00000000  0x10 0x00000000>; /* mem64-pref */

			#interrupt-cells = <1>;
			interrupt-map-mask = <0 0 0 7>;
			interrupt-map = <0 0 0 1 &gic0 0 0 0 24 4>, /* INTA */
					<0 0 0 2 &gic0 0 0 0 25 4>, /* INTB */
					<0 0 0 3 &gic0 0 0 0 26 4>, /* INTC */
					<0 0 0 4 &gic0 0 0 0 27 4>; /* INTD */
		};

		pem3 {
			compatible = "cavium,pci-host-thunder-pem";
			device_type = "pci";
			msi-parent = <&its>;
			msi-map = <0 &its 0x30000 0x10000>;
			bus-range = <0x20 0x57>;
			#size-cells = <2>;
			#address-cells = <3>;
			#stream-id-cells = <1>;
			reg = <0x8900 0x20000000 0x0 0x38000000>;  /* Configuration space */
			ranges = <0x01000000 0x00 0x00030000  0x8930 0x00030000  0x00 0x00010000>, /* I/O */
				 <0x03000000 0x00 0x10000000  0x8910 0x10000000  0x0f 0xf0000000>, /* mem64 */
				 <0x43000000 0x10 0x00000000  0x8920 0x00000000  0x10 0x00000000>; /* mem64-pref */

			#interrupt-cells = <1>;
			interrupt-map-mask = <0 0 0 7>;
			interrupt-map = <0 0 0 1 &gic0 0 0 0 28 4>, /* INTA */
					<0 0 0 2 &gic0 0 0 0 29 4>, /* INTB */
					<0 0 0 3 &gic0 0 0 0 30 4>, /* INTC */
					<0 0 0 4 &gic0 0 0 0 31 4>; /* INTD */
		};

		pem4 {
			compatible = "cavium,pci-host-thunder-pem";
			device_type = "pci";
			msi-parent = <&its>;
			msi-map = <0 &its 0x30000 0x10000>;
			bus-range = <0x58 0x8f>;
			#size-cells = <2>;
			#address-cells = <3>;
			#stream-id-cells = <1>;
			reg = <0x8940 0x58000000 0x0 0x38000000>;  /* Configuration space */
			ranges = <0x01000000 0x00 0x00040000  0x8970 0x00040000  0x00 0x00010000>, /* I/O */
				 <0x03000000 0x00 0x10000000  0x8950 0x10000000  0x0f 0xf0000000>, /* mem64 */
				 <0x43000000 0x10 0x00000000  0x8960 0x00000000  0x10 0x00000000>; /* mem64-pref */

			#interrupt-cells = <1>;
			interrupt-map-mask = <0 0 0 7>;
			interrupt-map = <0 0 0 1 &gic0 0 0 0 32 4>, /* INTA */
					<0 0 0 2 &gic0 0 0 0 33 4>, /* INTB */
					<0 0 0 3 &gic0 0 0 0 34 4>, /* INTC */
					<0 0 0 4 &gic0 0 0 0 35 4>; /* INTD */
		};

		pem5 {
			compatible = "cavium,pci-host-thunder-pem";
			device_type = "pci";
			msi-parent = <&its>;
			msi-map = <0 &its 0x30000 0x10000>;
			bus-range = <0x90 0xc7>;
			#size-cells = <2>;
			#address-cells = <3>;
			#stream-id-cells = <1>;
			reg = <0x8980 0x90000000 0x0 0x38000000>;  /* Configuration space */
			ranges = <0x01000000 0x00 0x00050000  0x89b0 0x00050000  0x00 0x00010000>, /* I/O */
				 <0x03000000 0x00 0x10000000  0x8990 0x10000000  0x0f 0xf0000000>, /* mem64 */
				 <0x43000000 0x10 0x00000000  0x89a0 0x00000000  0x10 0x00000000>; /* mem64-pref */

			#interrupt-cells = <1>;
			interrupt-map-mask = <0 0 0 7>;
			interrupt-map = <0 0 0 1 &gic0 0 0 0 36 4>, /* INTA */
					<0 0 0 2 &gic0 0 0 0 37 4>, /* INTB */
					<0 0 0 3 &gic0 0 0 0 38 4>, /* INTC */
					<0 0 0 4 &gic0 0 0 0 39 4>; /* INTD */
		};
	};
};
